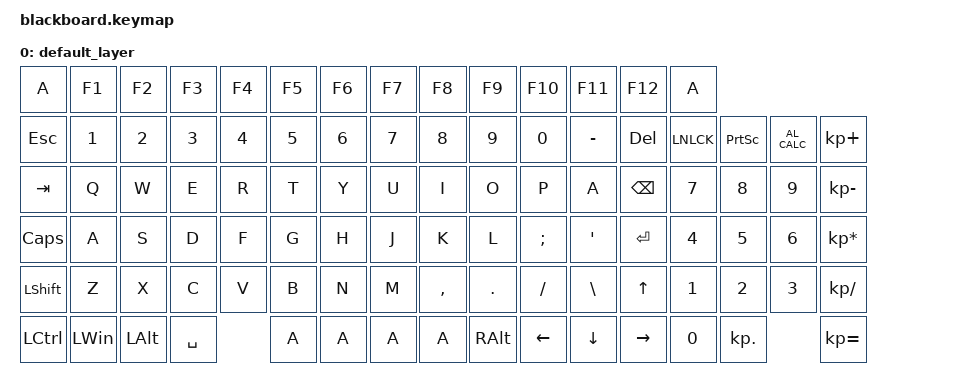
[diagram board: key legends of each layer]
#include <behaviors.dtsi>
#include <dt-bindings/zmk/keys.h>

/ {  
    keymap {
        compatible = "zmk,keymap";

        default_layer {
            bindings = <
                &kp A     &kp F1   &kp F2    &kp F3 &kp F4 &kp F5 &kp F6 &kp F7 &kp F8     &kp F9   &kp F10  &kp F11   &kp F12   &kp A
                &kp ESC   &kp N1   &kp N2    &kp N3 &kp N4 &kp N5 &kp N6 &kp N7 &kp N8     &kp N9   &kp N0   &kp MINUS &kp DEL   &kp LNLCK &kp PSCRN &kp C_AL_CALC &kp KP_PLUS
				&kp TAB   &kp Q    &kp W     &kp E  &kp R  &kp T  &kp Y  &kp U  &kp I      &kp O    &kp P    &kp A     &kp BSPC  &kp N7    &kp N8    &kp N9        &kp KP_MINUS
				&kp CAPS  &kp A    &kp S     &kp D  &kp F  &kp G  &kp H  &kp J  &kp K      &kp L    &kp SEMI &kp APOS  &kp RET   &kp N4    &kp N5    &kp N6        &kp KP_MULTIPLY
				&kp LSHFT &kp Z    &kp X     &kp C  &kp V  &kp B  &kp N  &kp M  &kp COMMA  &kp DOT  &kp FSLH &kp BSLH  &kp UP    &kp N1    &kp N2    &kp N3        &kp KP_SLASH
				&kp LCTRL &kp LWIN &kp LALT  &kp SPACE     &kp A  &kp A  &kp A  &kp A      &kp RALT &kp LEFT &kp DOWN  &kp RIGHT &kp N0    &kp KP_DOT              &kp KP_EQUAL
            >;
        }; 
    };
};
